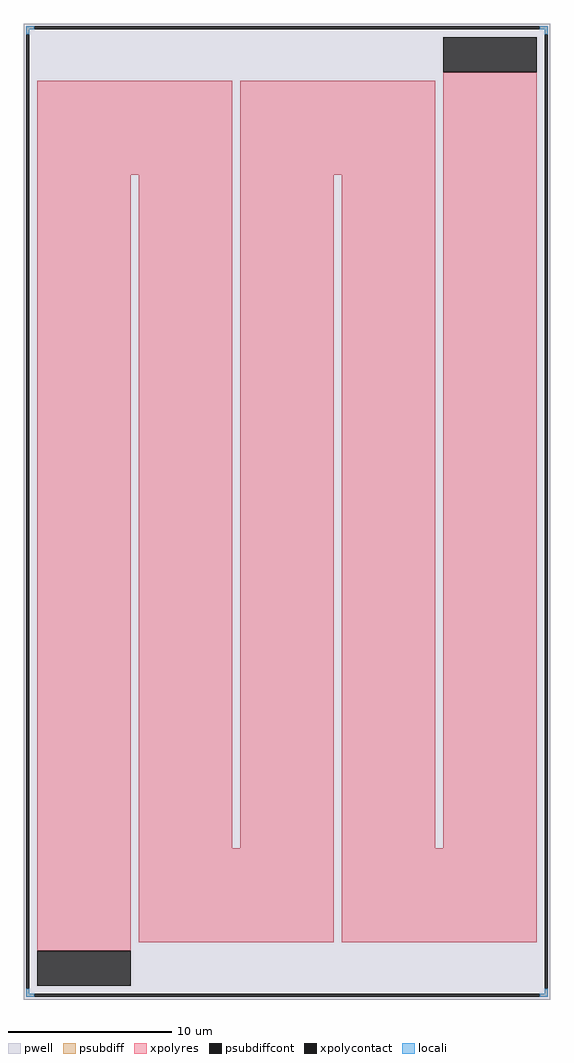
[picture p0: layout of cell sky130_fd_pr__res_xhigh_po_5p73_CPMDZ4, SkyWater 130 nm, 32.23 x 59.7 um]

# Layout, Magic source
magic
tech sky130A
magscale 1 2
<< pwell >>
rect -3223 -5970 3223 5970
<< psubdiff >>
rect -3187 5900 -3091 5934
rect 3091 5900 3187 5934
rect -3187 5838 -3153 5900
rect 3153 5838 3187 5900
rect -3187 -5900 -3153 -5838
rect 3153 -5900 3187 -5838
rect -3187 -5934 -3091 -5900
rect 3091 -5934 3187 -5900
<< psubdiffcont >>
rect -3091 5900 3091 5934
rect -3187 -5838 -3153 5838
rect 3153 -5838 3187 5838
rect -3091 -5934 3091 -5900
<< xpolycontact >>
rect 1911 5372 3057 5804
rect -3057 -5804 -1911 -5372
<< xpolyres >>
rect -3057 4122 -669 5268
rect -3057 -5372 -1911 4122
rect -1815 -4122 -669 4122
rect -573 4122 1815 5268
rect -573 -4122 573 4122
rect -1815 -5268 573 -4122
rect 669 -4122 1815 4122
rect 1911 -4122 3057 5372
rect 669 -5268 3057 -4122
<< locali >>
rect -3187 5900 -3091 5934
rect 3091 5900 3187 5934
rect -3187 5838 -3153 5900
rect 3153 5838 3187 5900
rect -3187 -5900 -3153 -5838
rect 3153 -5900 3187 -5838
rect -3187 -5934 -3091 -5900
rect 3091 -5934 3187 -5900
<< properties >>
string FIXED_BBOX -3170 -5917 3170 5917
string gencell sky130_fd_pr__res_xhigh_po_5p73
string library sky130
string parameters w 5.73 l 52.68 m 1 nx 5 wmin 5.730 lmin 0.50 rho 2000 val 100.002k dummy 0 dw 0.0 term 188.2 sterm 0.0 caplen 0 wmax 5.730 guard 1 glc 1 grc 1 gtc 1 gbc 1 compatible {sky130_fd_pr__res_xhigh_po_0p35  sky130_fd_pr__res_xhigh_po_0p69 sky130_fd_pr__res_xhigh_po_1p41  sky130_fd_pr__res_xhigh_po_2p85 sky130_fd_pr__res_xhigh_po_5p73} snake 1 full_metal 1 n_guard 0 hv_guard 0 vias 1 viagb 0 viagt 0 viagl 0 viagr 0
<< end >>
